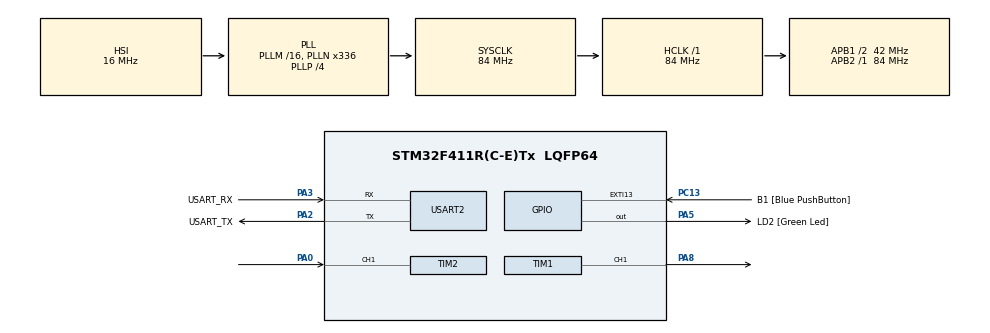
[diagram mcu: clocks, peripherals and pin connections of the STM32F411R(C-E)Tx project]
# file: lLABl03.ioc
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Dma.Request0=TIM2_CH1
Dma.TIM2_CH1.0.Direction=DMA_PERIPH_TO_MEMORY
Dma.TIM2_CH1.0.FIFOMode=DMA_FIFOMODE_DISABLE
Dma.TIM2_CH1.0.Instance=DMA1_Stream5
Dma.TIM2_CH1.0.MemDataAlignment=DMA_MDATAALIGN_WORD
Dma.TIM2_CH1.0.MemInc=DMA_MINC_ENABLE
Dma.TIM2_CH1.0.Mode=DMA_CIRCULAR
Dma.TIM2_CH1.0.PeriphDataAlignment=DMA_PDATAALIGN_WORD
Dma.TIM2_CH1.0.PeriphInc=DMA_PINC_DISABLE
Dma.TIM2_CH1.0.Priority=DMA_PRIORITY_LOW
Mcu.Family=STM32F4
Mcu.Name=STM32F411R(C-E)Tx
Mcu.Package=LQFP64
NVIC.DMA1_Stream5_IRQn=true\:0\:0\:false\:false\:true\:false\:true\:true
NVIC.PriorityGroup=NVIC_PRIORITYGROUP_0
PA0-WKUP.Signal=S_TIM2_CH1_ETR
PA13.GPIO_Label=TMS
PA13.Mode=Serial_Wire
PA13.Signal=SYS_JTMS-SWDIO
PA14.GPIO_Label=TCK
PA14.Mode=Serial_Wire
PA14.Signal=SYS_JTCK-SWCLK
PA2.GPIO_Label=USART_TX
PA2.Mode=Asynchronous
PA2.Signal=USART2_TX
PA3.GPIO_Label=USART_RX
PA3.Mode=Asynchronous
PA3.Signal=USART2_RX
PA5.GPIO_Label=LD2 [Green Led]
PA5.Signal=GPIO_Output
PA8.Signal=S_TIM1_CH1
PB3.GPIO_Label=SWO
PB3.Signal=SYS_JTDO-SWO
PC13-ANTI_TAMP.GPIO_Label=B1 [Blue PushButton]
PC13-ANTI_TAMP.GPIO_ModeDefaultEXTI=GPIO_MODE_IT_FALLING
PC13-ANTI_TAMP.Signal=GPXTI13
PC14-OSC32_IN.Mode=LSE-External-Oscillator
PC14-OSC32_IN.Signal=RCC_OSC32_IN
PC15-OSC32_OUT.Mode=LSE-External-Oscillator
PC15-OSC32_OUT.Signal=RCC_OSC32_OUT
PH0\ -\ OSC_IN.Mode=HSE-External-Clock-Source
PH0\ -\ OSC_IN.Signal=RCC_OSC_IN
PH1\ -\ OSC_OUT.Mode=HSE-External-Clock-Source
PH1\ -\ OSC_OUT.Signal=RCC_OSC_OUT
ProjectManager.HeapSize=0x200
ProjectManager.StackSize=0x400
ProjectManager.TargetToolchain=STM32CubeIDE
RCC.48MHZClocksFreq_Value=84000000
RCC.AHBFreq_Value=84000000
RCC.APB1CLKDivider=RCC_HCLK_DIV2
RCC.APB1Freq_Value=42000000
RCC.APB1TimFreq_Value=84000000
RCC.APB2Freq_Value=84000000
RCC.APB2TimFreq_Value=84000000
RCC.CortexFreq_Value=84000000
RCC.FLatency-AdvancedSettings=FLASH_LATENCY_2
RCC.HCLKFreq_Value=84000000
RCC.HSE_VALUE=8000000
RCC.HSI_VALUE=16000000
RCC.PLLN=336
RCC.PLLP=RCC_PLLP_DIV4
RCC.SYSCLKFreq_VALUE=84000000
RCC.SYSCLKSource=RCC_SYSCLKSOURCE_PLLCLK
RCC.VCOOutputFreq_Value=336000000
SH.S_TIM1_CH1.0=TIM1_CH1,PWM Generation1 CH1
SH.S_TIM2_CH1_ETR.0=TIM2_CH1,Input_Capture1_from_TI1
TIM1.Channel-PWM\ Generation1\ CH1=TIM_CHANNEL_1
TIM1.Period=1000
TIM1.Prescaler=83
TIM1.Pulse-PWM\ Generation1\ CH1=500
TIM2.Channel-Input_Capture1_from_TI1=TIM_CHANNEL_1
TIM2.Prescaler=83
USART2.VirtualMode=VM_ASYNC
VP_TIM1_VS_ClockSourceINT.Mode=Internal
VP_TIM2_VS_ClockSourceINT.Mode=Internal
board=NUCLEO-F411RE

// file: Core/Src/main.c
/* USER CODE BEGIN Header */
/**
  ******************************************************************************
  * @file           : main.c
  * @brief          : Main program body
  ******************************************************************************
  * @attention
  *
  * Copyright (c) 2023 STMicroelectronics.
  * All rights reserved.
  *
  * This software is licensed under terms that can be found in the LICENSE file
  * in the root directory of this software component.
  * If no LICENSE file comes with this software, it is provided AS-IS.
  *
  ******************************************************************************
  */
/* USER CODE END Header */
#include "main.h"

/* USER CODE BEGIN Includes */
#define IC_BUFFER_SIZE 20
/* USER CODE END Includes */

TIM_HandleTypeDef htim1;
TIM_HandleTypeDef htim2;
DMA_HandleTypeDef hdma_tim2_ch1;

UART_HandleTypeDef huart2;

/* USER CODE BEGIN PV */
uint32_t InputCaptureBuffer[IC_BUFFER_SIZE];
float averageRisingedgePeriod;
uint32_t Motorduty = 20;
uint32_t MotorReadRPM = 0;
uint32_t MotorSetRPM = 0;
uint32_t MotorControlEnable;
uint32_t MotorSetDuty;

/* USER CODE END PV */

void SystemClock_Config(void);
static void MX_GPIO_Init(void);
static void MX_DMA_Init(void);
static void MX_USART2_UART_Init(void);
static void MX_TIM1_Init(void);
static void MX_TIM2_Init(void);
/* USER CODE BEGIN PFP */
float IC_Calc_Period();
/* USER CODE END PFP */

int main(void)
{

  /* MCU Configuration--------------------------------------------------------*/

  /* Reset of all peripherals, Initializes the Flash interface and the Systick. */
  HAL_Init();

  /* Configure the system clock */
  SystemClock_Config();

  /* Initialize all configured peripherals */
  MX_GPIO_Init();
  MX_DMA_Init();
  MX_USART2_UART_Init();
  MX_TIM1_Init();
  MX_TIM2_Init();
  /* USER CODE BEGIN 2 */
  HAL_TIM_Base_Start(&htim2);
  HAL_TIM_IC_Start_DMA(&htim2, TIM_CHANNEL_1, InputCaptureBuffer, IC_BUFFER_SIZE);

  HAL_TIM_Base_Start(&htim1);
  HAL_TIM_PWM_Start(&htim1, TIM_CHANNEL_1);
  /* USER CODE END 2 */

  /* Infinite loop */
  while (1)
  {

    /* USER CODE BEGIN 3 */
	  static uint32_t timestamp = 0;
		  if (HAL_GetTick()>= timestamp)
		  {
		  	timestamp = HAL_GetTick()+500;
		  	averageRisingedgePeriod = IC_Calc_Period();
		  	__HAL_TIM_SET_COMPARE(&htim1,TIM_CHANNEL_1,Motorduty*10);
		  MotorReadRPM = (60/(12*averageRisingedgePeriod*64*0.000001));
		  if (MotorControlEnable == 1)
		  {
				if(MotorSetRPM > MotorReadRPM)
				{
					Motorduty+=1;

				}
				else if (MotorSetRPM< MotorReadRPM)
				{
					Motorduty-=1;
				}
		  }
		  else if(MotorControlEnable == 0)
		  {

			  __HAL_TIM_SET_COMPARE(&htim1,TIM_CHANNEL_1,Motorduty*10);

		  }
		  }

  }

  /* USER CODE END 3 */
}

void SystemClock_Config(void)
{
  RCC_OscInitTypeDef RCC_OscInitStruct = {0};
  RCC_ClkInitTypeDef RCC_ClkInitStruct = {0};

  /** Configure the main internal regulator output voltage
  */
  __HAL_RCC_PWR_CLK_ENABLE();
  __HAL_PWR_VOLTAGESCALING_CONFIG(PWR_REGULATOR_VOLTAGE_SCALE1);

  /** Initializes the RCC Oscillators according to the specified parameters
  * in the RCC_OscInitTypeDef structure.
  */
  RCC_OscInitStruct.OscillatorType = RCC_OSCILLATORTYPE_HSI;
  RCC_OscInitStruct.HSIState = RCC_HSI_ON;
  RCC_OscInitStruct.HSICalibrationValue = RCC_HSICALIBRATION_DEFAULT;
  RCC_OscInitStruct.PLL.PLLState = RCC_PLL_ON;
  RCC_OscInitStruct.PLL.PLLSource = RCC_PLLSOURCE_HSI;
  RCC_OscInitStruct.PLL.PLLM = 16;
  RCC_OscInitStruct.PLL.PLLN = 336;
  RCC_OscInitStruct.PLL.PLLP = RCC_PLLP_DIV4;
  RCC_OscInitStruct.PLL.PLLQ = 4;
  if (HAL_RCC_OscConfig(&RCC_OscInitStruct) != HAL_OK)
  {
    Error_Handler();
  }

  /** Initializes the CPU, AHB and APB buses clocks
  */
  RCC_ClkInitStruct.ClockType = RCC_CLOCKTYPE_HCLK|RCC_CLOCKTYPE_SYSCLK
                              |RCC_CLOCKTYPE_PCLK1|RCC_CLOCKTYPE_PCLK2;
  RCC_ClkInitStruct.SYSCLKSource = RCC_SYSCLKSOURCE_PLLCLK;
  RCC_ClkInitStruct.AHBCLKDivider = RCC_SYSCLK_DIV1;
  RCC_ClkInitStruct.APB1CLKDivider = RCC_HCLK_DIV2;
  RCC_ClkInitStruct.APB2CLKDivider = RCC_HCLK_DIV1;

  if (HAL_RCC_ClockConfig(&RCC_ClkInitStruct, FLASH_LATENCY_2) != HAL_OK)
  {
    Error_Handler();
  }
}

static void MX_TIM1_Init(void)
{

  TIM_ClockConfigTypeDef sClockSourceConfig = {0};
  TIM_MasterConfigTypeDef sMasterConfig = {0};
  TIM_OC_InitTypeDef sConfigOC = {0};
  TIM_BreakDeadTimeConfigTypeDef sBreakDeadTimeConfig = {0};

  htim1.Instance = TIM1;
  htim1.Init.Prescaler = 83;
  htim1.Init.CounterMode = TIM_COUNTERMODE_UP;
  htim1.Init.Period = 1000;
  htim1.Init.ClockDivision = TIM_CLOCKDIVISION_DIV1;
  htim1.Init.RepetitionCounter = 0;
  htim1.Init.AutoReloadPreload = TIM_AUTORELOAD_PRELOAD_DISABLE;
  if (HAL_TIM_Base_Init(&htim1) != HAL_OK)
  {
    Error_Handler();
  }
  sClockSourceConfig.ClockSource = TIM_CLOCKSOURCE_INTERNAL;
  if (HAL_TIM_ConfigClockSource(&htim1, &sClockSourceConfig) != HAL_OK)
  {
    Error_Handler();
  }
  if (HAL_TIM_PWM_Init(&htim1) != HAL_OK)
  {
    Error_Handler();
  }
  sMasterConfig.MasterOutputTrigger = TIM_TRGO_RESET;
  sMasterConfig.MasterSlaveMode = TIM_MASTERSLAVEMODE_DISABLE;
  if (HAL_TIMEx_MasterConfigSynchronization(&htim1, &sMasterConfig) != HAL_OK)
  {
    Error_Handler();
  }
  sConfigOC.OCMode = TIM_OCMODE_PWM1;
  sConfigOC.Pulse = 500;
  sConfigOC.OCPolarity = TIM_OCPOLARITY_HIGH;
  sConfigOC.OCNPolarity = TIM_OCNPOLARITY_HIGH;
  sConfigOC.OCFastMode = TIM_OCFAST_DISABLE;
  sConfigOC.OCIdleState = TIM_OCIDLESTATE_RESET;
  sConfigOC.OCNIdleState = TIM_OCNIDLESTATE_RESET;
  if (HAL_TIM_PWM_ConfigChannel(&htim1, &sConfigOC, TIM_CHANNEL_1) != HAL_OK)
  {
    Error_Handler();
  }
  sBreakDeadTimeConfig.OffStateRunMode = TIM_OSSR_DISABLE;
  sBreakDeadTimeConfig.OffStateIDLEMode = TIM_OSSI_DISABLE;
  sBreakDeadTimeConfig.LockLevel = TIM_LOCKLEVEL_OFF;
  sBreakDeadTimeConfig.DeadTime = 0;
  sBreakDeadTimeConfig.BreakState = TIM_BREAK_DISABLE;
  sBreakDeadTimeConfig.BreakPolarity = TIM_BREAKPOLARITY_HIGH;
  sBreakDeadTimeConfig.AutomaticOutput = TIM_AUTOMATICOUTPUT_DISABLE;
  if (HAL_TIMEx_ConfigBreakDeadTime(&htim1, &sBreakDeadTimeConfig) != HAL_OK)
  {
    Error_Handler();
  }
  HAL_TIM_MspPostInit(&htim1);

}

static void MX_TIM2_Init(void)
{

  TIM_ClockConfigTypeDef sClockSourceConfig = {0};
  TIM_MasterConfigTypeDef sMasterConfig = {0};
  TIM_IC_InitTypeDef sConfigIC = {0};

  htim2.Instance = TIM2;
  htim2.Init.Prescaler = 83;
  htim2.Init.CounterMode = TIM_COUNTERMODE_UP;
  htim2.Init.Period = 4294967295;
  htim2.Init.ClockDivision = TIM_CLOCKDIVISION_DIV1;
  htim2.Init.AutoReloadPreload = TIM_AUTORELOAD_PRELOAD_DISABLE;
  if (HAL_TIM_Base_Init(&htim2) != HAL_OK)
  {
    Error_Handler();
  }
  sClockSourceConfig.ClockSource = TIM_CLOCKSOURCE_INTERNAL;
  if (HAL_TIM_ConfigClockSource(&htim2, &sClockSourceConfig) != HAL_OK)
  {
    Error_Handler();
  }
  if (HAL_TIM_IC_Init(&htim2) != HAL_OK)
  {
    Error_Handler();
  }
  sMasterConfig.MasterOutputTrigger = TIM_TRGO_RESET;
  sMasterConfig.MasterSlaveMode = TIM_MASTERSLAVEMODE_DISABLE;
  if (HAL_TIMEx_MasterConfigSynchronization(&htim2, &sMasterConfig) != HAL_OK)
  {
    Error_Handler();
  }
  sConfigIC.ICPolarity = TIM_INPUTCHANNELPOLARITY_RISING;
  sConfigIC.ICSelection = TIM_ICSELECTION_DIRECTTI;
  sConfigIC.ICPrescaler = TIM_ICPSC_DIV1;
  sConfigIC.ICFilter = 0;
  if (HAL_TIM_IC_ConfigChannel(&htim2, &sConfigIC, TIM_CHANNEL_1) != HAL_OK)
  {
    Error_Handler();
  }

}

static void MX_USART2_UART_Init(void)
{

  huart2.Instance = USART2;
  huart2.Init.BaudRate = 115200;
  huart2.Init.WordLength = UART_WORDLENGTH_8B;
  huart2.Init.StopBits = UART_STOPBITS_1;
  huart2.Init.Parity = UART_PARITY_NONE;
  huart2.Init.Mode = UART_MODE_TX_RX;
  huart2.Init.HwFlowCtl = UART_HWCONTROL_NONE;
  huart2.Init.OverSampling = UART_OVERSAMPLING_16;
  if (HAL_UART_Init(&huart2) != HAL_OK)
  {
    Error_Handler();
  }

}

static void MX_DMA_Init(void)
{

  /* DMA controller clock enable */
  __HAL_RCC_DMA1_CLK_ENABLE();

  /* DMA interrupt init */
  /* DMA1_Stream5_IRQn interrupt configuration */
  HAL_NVIC_SetPriority(DMA1_Stream5_IRQn, 0, 0);
  HAL_NVIC_EnableIRQ(DMA1_Stream5_IRQn);

}

static void MX_GPIO_Init(void)
{
  GPIO_InitTypeDef GPIO_InitStruct = {0};

  /* GPIO Ports Clock Enable */
  __HAL_RCC_GPIOC_CLK_ENABLE();
  __HAL_RCC_GPIOH_CLK_ENABLE();
  __HAL_RCC_GPIOA_CLK_ENABLE();
  __HAL_RCC_GPIOB_CLK_ENABLE();

  /*Configure GPIO pin Output Level */
  HAL_GPIO_WritePin(LD2_GPIO_Port, LD2_Pin, GPIO_PIN_RESET);

  /*Configure GPIO pin : B1_Pin */
  GPIO_InitStruct.Pin = B1_Pin;
  GPIO_InitStruct.Mode = GPIO_MODE_IT_FALLING;
  GPIO_InitStruct.Pull = GPIO_NOPULL;
  HAL_GPIO_Init(B1_GPIO_Port, &GPIO_InitStruct);

  /*Configure GPIO pin : LD2_Pin */
  GPIO_InitStruct.Pin = LD2_Pin;
  GPIO_InitStruct.Mode = GPIO_MODE_OUTPUT_PP;
  GPIO_InitStruct.Pull = GPIO_NOPULL;
  GPIO_InitStruct.Speed = GPIO_SPEED_FREQ_LOW;
  HAL_GPIO_Init(LD2_GPIO_Port, &GPIO_InitStruct);

}

/* USER CODE BEGIN 4 */
float IC_Calc_Period()
{
	uint32_t currentDMAPointer = IC_BUFFER_SIZE - __HAL_DMA_GET_COUNTER((htim2.hdma[1]));

	uint32_t lastVaildDMAPointer = (currentDMAPointer-1 + IC_BUFFER_SIZE) % IC_BUFFER_SIZE;

	uint32_t i = (lastVaildDMAPointer + IC_BUFFER_SIZE - 6) % IC_BUFFER_SIZE;

	int32_t sumdiff = 0;
	while (i != lastVaildDMAPointer)
	{
		uint32_t firstCapture = InputCaptureBuffer[i];

		uint32_t NextCapture = InputCaptureBuffer[(i+1)%IC_BUFFER_SIZE];
		sumdiff += NextCapture - firstCapture;
		i = (i+1) % IC_BUFFER_SIZE;
	}
	return sumdiff / 5.0;
}
/* USER CODE END 4 */

void Error_Handler(void)
{
  __disable_irq();
  while (1)
  {
  }
}
